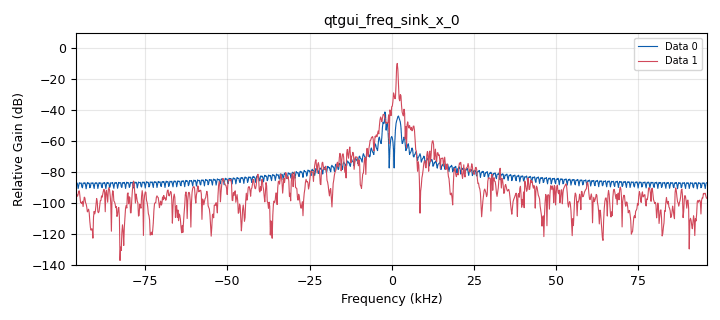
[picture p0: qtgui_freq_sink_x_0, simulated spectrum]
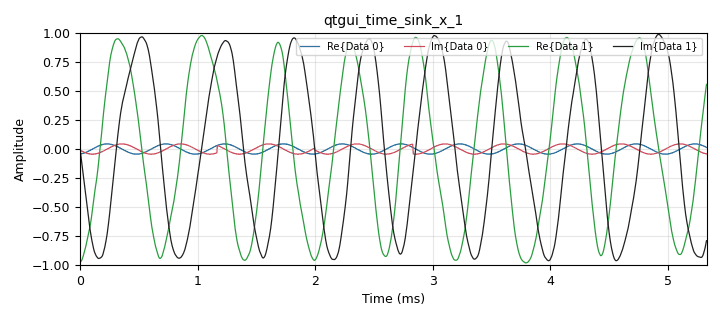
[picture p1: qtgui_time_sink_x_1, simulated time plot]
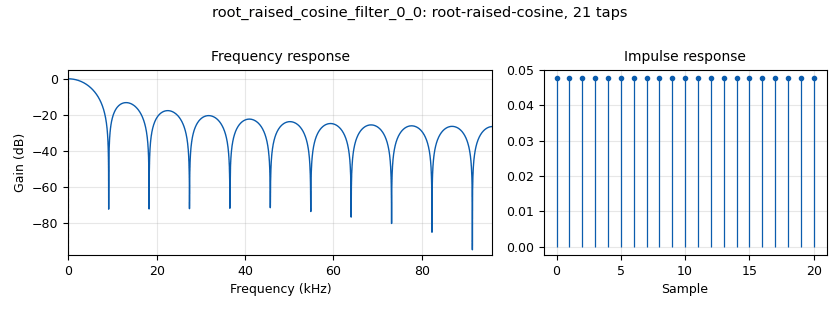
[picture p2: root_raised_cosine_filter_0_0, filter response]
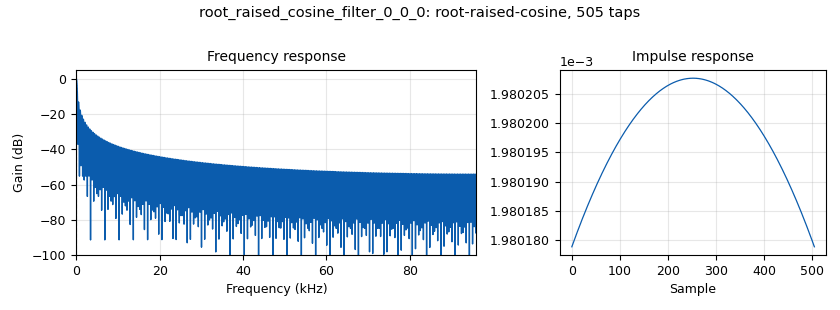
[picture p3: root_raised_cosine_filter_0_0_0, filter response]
options:
  parameters:
    author: Manolis Surligas
    generate_options: qt_gui
    id: simplified_fsk
    output_language: python
    title: simplified_fsk
  states: {}

blocks:
- name: samp_rate
  id: variable
  parameters:
    value: 192e3
  states: {}
- name: symbol_duration
  id: variable
  parameters:
    value: '160'
  states: {}
- name: analog_const_source_x_0
  id: analog_const_source_x
  parameters:
    const: '1'
    type: complex
  states: {}
- name: analog_frequency_modulator_fc_0
  id: analog_frequency_modulator_fc
  parameters:
    sensitivity: '0.1'
  states: {}
- name: analog_random_source_x_0
  id: analog_random_source_x
  parameters:
    max: '2'
    min: '0'
    num_samps: '1000'
    repeat: 'True'
    type: byte
  states: {}
- name: analog_random_source_x_0_0
  id: analog_random_source_x
  parameters:
    max: '2'
    min: '0'
    num_samps: '1000'
    repeat: 'True'
    type: byte
  states: {}
- name: analog_sig_source_x_0
  id: analog_sig_source_x
  parameters:
    amp: '1'
    freq: '-2e3'
    offset: '0'
    phase: '0'
    samp_rate: samp_rate
    type: complex
    waveform: analog.GR_COS_WAVE
  states: {}
- name: analog_sig_source_x_0_0
  id: analog_sig_source_x
  parameters:
    amp: '1'
    freq: 2e3
    offset: '0'
    phase: '0'
    samp_rate: samp_rate
    type: complex
    waveform: analog.GR_COS_WAVE
  states: {}
- name: blocks_add_xx_0
  id: blocks_add_xx
  parameters:
    type: complex
  states: {}
- name: blocks_float_to_complex_0
  id: blocks_float_to_complex
  parameters: {}
  states: {}
- name: blocks_multiply_xx_0
  id: blocks_multiply_xx
  parameters:
    type: complex
  states: {}
- name: blocks_multiply_xx_0_0
  id: blocks_multiply_xx
  parameters:
    type: complex
  states: {}
- name: blocks_repeat_0
  id: blocks_repeat
  parameters:
    comment: Increase symbol duration
    interp: symbol_duration
    type: byte
  states: {}
- name: blocks_sub_xx_0
  id: blocks_sub_xx
  parameters:
    type: complex
  states: {}
- name: blocks_throttle_0
  id: blocks_throttle
  parameters:
    samples_per_second: samp_rate
    type: byte
  states: {}
- name: blocks_throttle_1
  id: blocks_throttle
  parameters:
    samples_per_second: samp_rate
    type: complex
  states: {}
- name: blocks_uchar_to_float_0
  id: blocks_uchar_to_float
  parameters: {}
  states: {}
- name: blocks_uchar_to_float_0_0
  id: blocks_uchar_to_float
  parameters: {}
  states: {}
- name: qtgui_freq_sink_x_0
  id: qtgui_freq_sink_x
  parameters:
    bw: samp_rate
    fc: '0'
    fftsize: '1024'
    nconnections: '2'
    type: complex
    wintype: firdes.WIN_BLACKMAN_hARRIS
  states: {}
- name: qtgui_time_sink_x_1
  id: qtgui_time_sink_x
  parameters:
    nconnections: '2'
    size: '1024'
    srate: samp_rate
    type: complex
  states: {}
- name: root_raised_cosine_filter_0_0
  id: root_raised_cosine_filter
  parameters:
    alpha: '0.35'
    decim: '1'
    gain: '1'
    ntaps: '20'
    samp_rate: 192e3
    sym_rate: '2'
    type: fir_filter_ccf
  states: {}
- name: root_raised_cosine_filter_0_0_0
  id: root_raised_cosine_filter
  parameters:
    alpha: '0.35'
    decim: '1'
    gain: '1'
    ntaps: '505'
    samp_rate: 192e3
    sym_rate: '2'
    type: fir_filter_ccf
  states: {}
- name: root_raised_cosine_filter_0_0_0_0
  id: root_raised_cosine_filter
  parameters:
    alpha: '0.35'
    decim: '1'
    gain: '1'
    ntaps: '505'
    samp_rate: 192e3
    sym_rate: '2'
    type: fir_filter_ccf
  states: {}

connections:
- [analog_const_source_x_0, '0', blocks_sub_xx_0, '0']
- [analog_frequency_modulator_fc_0, '0', root_raised_cosine_filter_0_0, '0']
- [analog_random_source_x_0, '0', blocks_throttle_0, '0']
- [analog_random_source_x_0_0, '0', blocks_uchar_to_float_0_0, '0']
- [analog_sig_source_x_0, '0', root_raised_cosine_filter_0_0_0, '0']
- [analog_sig_source_x_0_0, '0', root_raised_cosine_filter_0_0_0_0, '0']
- [blocks_add_xx_0, '0', qtgui_freq_sink_x_0, '0']
- [blocks_add_xx_0, '0', qtgui_time_sink_x_1, '0']
- [blocks_float_to_complex_0, '0', blocks_multiply_xx_0, '0']
- [blocks_float_to_complex_0, '0', blocks_sub_xx_0, '1']
- [blocks_multiply_xx_0, '0', blocks_add_xx_0, '0']
- [blocks_multiply_xx_0_0, '0', blocks_add_xx_0, '1']
- [blocks_repeat_0, '0', blocks_uchar_to_float_0, '0']
- [blocks_sub_xx_0, '0', blocks_multiply_xx_0_0, '0']
- [blocks_throttle_0, '0', blocks_repeat_0, '0']
- [blocks_throttle_1, '0', blocks_multiply_xx_0, '1']
- [blocks_uchar_to_float_0, '0', blocks_float_to_complex_0, '0']
- [blocks_uchar_to_float_0_0, '0', analog_frequency_modulator_fc_0, '0']
- [root_raised_cosine_filter_0_0, '0', qtgui_freq_sink_x_0, '1']
- [root_raised_cosine_filter_0_0, '0', qtgui_time_sink_x_1, '1']
- [root_raised_cosine_filter_0_0_0, '0', blocks_throttle_1, '0']
- [root_raised_cosine_filter_0_0_0_0, '0', blocks_multiply_xx_0_0, '1']

metadata:
  file_format: 1
